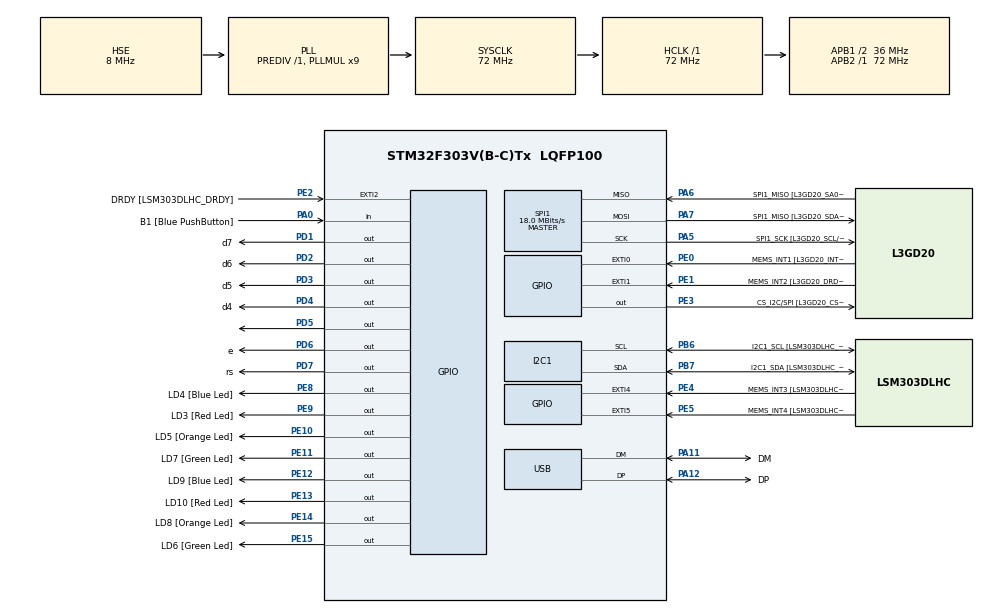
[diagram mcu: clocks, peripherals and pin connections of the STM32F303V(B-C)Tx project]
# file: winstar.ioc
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Mcu.Family=STM32F3
PA6.Mode=Full_Duplex_Master
RCC.CortexFreq_Value=72000000
SPI1.VirtualType=VM_MASTER
PE11.GPIO_Label=LD7 [Green Led]
PA14.GPIO_Label=SWCLK
RCC.SYSCLKSourceVirtual=RCC_SYSCLKSOURCE_PLLCLK
PA0.GPIO_Label=B1 [Blue PushButton]
PA11.Mode=Device
PD2.GPIO_Speed=GPIO_SPEED_FREQ_HIGH
PA6.GPIO_Label=SPI1_MISO [L3GD20_SA0/SDO]
PB6.GPIO_Label=I2C1_SCL [LSM303DLHC_SCL]
PD3.GPIO_Speed=GPIO_SPEED_FREQ_HIGH
PD6.GPIO_Label=e
PC15-OSC32_OUT.GPIO_Label=OSC32_OUT
ProjectManager.StackSize=0x400
VP_FREERTOS_VS_CMSIS_V2.Mode=CMSIS_V2
SPI1.Mode-Full_Duplex_Master=SPI_MODE_MASTER
PA12.Signal=USB_DP
PD7.GPIO_PuPd=GPIO_PULLUP
SPI1.Direction=SPI_DIRECTION_2LINES
RCC.HCLKFreq_Value=72000000
PD4.Signal=GPIO_Output
RCC.APB2TimFreq_Value=72000000
PB6.Signal=I2C1_SCL
PB6.Mode=I2C
SPI1.CalculateBaudRate=18.0 MBits/s
PE5.Signal=GPXTI5
PE1.Signal=GPXTI1
RCC.AHBFreq_Value=72000000
RCC.HSE_VALUE=8000000
PF0-OSC_IN.GPIO_Label=OSC_IN
RCC.PLLMUL=RCC_PLL_MUL9
PD1.GPIO_Label=d7
PD7.GPIO_Speed=GPIO_SPEED_FREQ_HIGH
NVIC.TIM1_TRG_COM_TIM17_IRQn=true\:0\:0\:false\:false\:true\:false\:false\:true
PE13.Signal=GPIO_Output
PE9.Signal=GPIO_Output
PD1.GPIO_Speed=GPIO_SPEED_FREQ_HIGH
PA14.Mode=Serial_Wire
PE4.GPIO_Label=MEMS_INT3 [LSM303DLHC_INT1]
PE2.Signal=GPXTI2
PB7.Signal=I2C1_SDA
PE10.Signal=GPIO_Output
PE4.Signal=GPXTI4
SPI1.CalculateBaudRate-Full_Duplex_Master=24.0 MBits/s
PA0.Signal=GPIO_Input
PD7.GPIO_Label=rs
PB7.GPIO_Label=I2C1_SDA [LSM303DLHC_SDA]
Mcu.Package=LQFP100
PA6.Signal=SPI1_MISO
NVIC.TimeBase=TIM1_TRG_COM_TIM17_IRQn
NVIC.TimeBaseIP=TIM17
PE12.GPIO_Label=LD9 [Blue Led]
PE0.GPIO_Label=MEMS_INT1 [L3GD20_INT1]
RCC.APB1TimFreq_Value=72000000
PD5.GPIO_Speed=GPIO_SPEED_FREQ_HIGH
PC14-OSC32_IN.GPIO_Label=OSC32_IN
PD3.GPIO_Label=d5
PD3.GPIO_PuPd=GPIO_PULLUP
PD6.Signal=GPIO_Output
PE10.GPIO_Label=LD5 [Orange Led]
SPI1.BaudRatePrescaler=SPI_BAUDRATEPRESCALER_4
PE2.GPIO_Label=DRDY [LSM303DLHC_DRDY]
PF1-OSC_OUT.Signal=RCC_OSC_OUT
PA5.Mode=Full_Duplex_Master
PB3.GPIO_Label=SWO
FREERTOS.Tasks01=defaultTask,24,128,StartDefaultTask,Default,NULL,Dynamic,NULL,NULL
PA7.Mode=Full_Duplex_Master
PD2.GPIO_PuPd=GPIO_PULLUP
VP_SYS_VS_tim17.Mode=TIM17
PD3.Signal=GPIO_Output
PE4.GPIO_ModeDefaultEXTI=GPIO_MODE_EVT_RISING
PD7.Signal=GPIO_Output
PD1.Signal=GPIO_Output
PA11.GPIO_Label=DM
PE14.GPIO_Label=LD8 [Orange Led]
PD5.Signal=GPIO_Output
PD1.GPIO_PuPd=GPIO_PULLUP
PE1.GPIO_ModeDefaultEXTI=GPIO_MODE_EVT_RISING
RCC.APB1CLKDivider=RCC_HCLK_DIV2
PC14-OSC32_IN.Signal=RCC_OSC32_IN
PA12.GPIO_Label=DP
PA13.Signal=SYS_JTMS-SWDIO
PD4.GPIO_PuPd=GPIO_PULLUP
PE15.GPIO_Label=LD6 [Green Led]
ProjectManager.TargetToolchain=EWARM V8
PE5.GPIO_ModeDefaultEXTI=GPIO_MODE_EVT_RISING
PE8.GPIO_Label=LD4 [Blue Led]
PE0.GPIO_ModeDefaultEXTI=GPIO_MODE_EVT_RISING
RCC.USBFreq_Value=48000000
PE11.Signal=GPIO_Output
RCC.LSE_VALUE=32768
PC15-OSC32_OUT.Signal=RCC_OSC32_OUT
PE9.GPIO_Label=LD3 [Red Led]
PF0-OSC_IN.Mode=HSE-External-Clock-Source
PA5.Signal=SPI1_SCK
board=STM32F3DISCOVERY
PE1.GPIO_Label=MEMS_INT2 [L3GD20_DRDY/INT2]
RCC.APB2Freq_Value=72000000
PE14.Signal=GPIO_Output
PE15.Signal=GPIO_Output
RCC.PRESCALERUSB=RCC_USBCLKSOURCE_PLL_DIV1_5
PE8.Signal=GPIO_Output
SPI1.Mode=SPI_MODE_MASTER
PD4.GPIO_Label=d4
PD4.GPIO_Speed=GPIO_SPEED_FREQ_HIGH
PF1-OSC_OUT.GPIO_Label=OSC_OUT
I2C1.Timing-I2C=0x2000090E
PD5.GPIO_PuPd=GPIO_PULLUP
PA13.Mode=Serial_Wire
Mcu.Name=STM32F303V(B-C)Tx
PE0.Signal=GPXTI0
PE12.Signal=GPIO_Output
PA13.GPIO_Label=SWDIO
PB3.Signal=SYS_JTDO-TRACESWO
RCC.SYSCLKFreq_VALUE=72000000
PA7.GPIO_Label=SPI1_MISO [L3GD20_SDA/SDI/SDO]
PE13.GPIO_Label=LD10 [Red Led]
PA12.Mode=Device
PA5.GPIO_Label=SPI1_SCK [L3GD20_SCL/SPC]
PE5.GPIO_Label=MEMS_INT4 [LSM303DLHC_INT2]
PA11.Signal=USB_DM
PB7.Mode=I2C
PA14.Signal=SYS_JTCK-SWCLK
ProjectManager.HeapSize=0x200
RCC.HSI_VALUE=8000000
NVIC.PriorityGroup=NVIC_PRIORITYGROUP_4
PE3.Signal=GPIO_Output
PE3.GPIO_Label=CS_I2C/SPI [L3GD20_CS_I2C/SPI]
PE2.GPIO_ModeDefaultEXTI=GPIO_MODE_EVT_RISING
PF0-OSC_IN.Signal=RCC_OSC_IN
PD2.Signal=GPIO_Output
RCC.APB1Freq_Value=36000000
PD6.GPIO_Speed=GPIO_SPEED_FREQ_HIGH
SPI1.BaudRatePrescaler-Full_Duplex_Master=SPI_BAUDRATEPRESCALER_2
PD2.GPIO_Label=d6
PD6.GPIO_PuPd=GPIO_PULLUP
PA7.Signal=SPI1_MOSI

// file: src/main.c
/* USER CODE BEGIN Header */
/**
  ******************************************************************************
  * @file           : main.c
  * @brief          : Main program body
  ******************************************************************************
  * @attention
  *
  * <h2><center>&copy; Copyright (c) 2020 STMicroelectronics.
  * All rights reserved.</center></h2>
  *
  * This software component is licensed by ST under Ultimate Liberty license
  * SLA0044, the "License"; You may not use this file except in compliance with
  * the License. You may obtain a copy of the License at:
  *                             www.st.com/SLA0044
  *
  ******************************************************************************
  */
/* USER CODE END Header */

#include "main.h"
#include "cmsis_os.h"

/* USER CODE BEGIN Includes */
#include "wh1602.h"
/* USER CODE END Includes */

I2C_HandleTypeDef hi2c1;

SPI_HandleTypeDef hspi1;

PCD_HandleTypeDef hpcd_USB_FS;

/* Definitions for defaultTask */
osThreadId_t defaultTaskHandle;
const osThreadAttr_t defaultTask_attributes = {
  .name = "defaultTask",
  .priority = (osPriority_t) osPriorityNormal,
  .stack_size = 128 * 4
};

void SystemClock_Config(void);
static void MX_GPIO_Init(void);
static void MX_I2C1_Init(void);
static void MX_SPI1_Init(void);
static void MX_USB_PCD_Init(void);
void StartDefaultTask(void *argument);

int main(void)
{

  /* MCU Configuration--------------------------------------------------------*/

  /* Reset of all peripherals, Initializes the Flash interface and the Systick. */
  HAL_Init();

  /* Configure the system clock */
  SystemClock_Config();

  /* Initialize all configured peripherals */
  MX_GPIO_Init();
  MX_I2C1_Init();
  MX_SPI1_Init();
  MX_USB_PCD_Init();

  /* Init scheduler */
  osKernelInitialize();

  /* Create the thread(s) */
  /* creation of defaultTask */
  defaultTaskHandle = osThreadNew(StartDefaultTask, NULL, &defaultTask_attributes);

  /* Start scheduler */
  osKernelStart();

  /* We should never get here as control is now taken by the scheduler */
  /* Infinite loop */
  while (1)
  {

  }
}

void SystemClock_Config(void)
{
  RCC_OscInitTypeDef RCC_OscInitStruct = {0};
  RCC_ClkInitTypeDef RCC_ClkInitStruct = {0};
  RCC_PeriphCLKInitTypeDef PeriphClkInit = {0};

  /** Initializes the CPU, AHB and APB busses clocks
  */
  RCC_OscInitStruct.OscillatorType = RCC_OSCILLATORTYPE_HSI|RCC_OSCILLATORTYPE_HSE;
  RCC_OscInitStruct.HSEState = RCC_HSE_BYPASS;
  RCC_OscInitStruct.HSEPredivValue = RCC_HSE_PREDIV_DIV1;
  RCC_OscInitStruct.HSIState = RCC_HSI_ON;
  RCC_OscInitStruct.HSICalibrationValue = RCC_HSICALIBRATION_DEFAULT;
  RCC_OscInitStruct.PLL.PLLState = RCC_PLL_ON;
  RCC_OscInitStruct.PLL.PLLSource = RCC_PLLSOURCE_HSE;
  RCC_OscInitStruct.PLL.PLLMUL = RCC_PLL_MUL9;
  if (HAL_RCC_OscConfig(&RCC_OscInitStruct) != HAL_OK)
  {
    Error_Handler();
  }
  /** Initializes the CPU, AHB and APB busses clocks
  */
  RCC_ClkInitStruct.ClockType = RCC_CLOCKTYPE_HCLK|RCC_CLOCKTYPE_SYSCLK
                              |RCC_CLOCKTYPE_PCLK1|RCC_CLOCKTYPE_PCLK2;
  RCC_ClkInitStruct.SYSCLKSource = RCC_SYSCLKSOURCE_PLLCLK;
  RCC_ClkInitStruct.AHBCLKDivider = RCC_SYSCLK_DIV1;
  RCC_ClkInitStruct.APB1CLKDivider = RCC_HCLK_DIV2;
  RCC_ClkInitStruct.APB2CLKDivider = RCC_HCLK_DIV1;

  if (HAL_RCC_ClockConfig(&RCC_ClkInitStruct, FLASH_LATENCY_2) != HAL_OK)
  {
    Error_Handler();
  }
  PeriphClkInit.PeriphClockSelection = RCC_PERIPHCLK_USB|RCC_PERIPHCLK_I2C1;
  PeriphClkInit.I2c1ClockSelection = RCC_I2C1CLKSOURCE_HSI;
  PeriphClkInit.USBClockSelection = RCC_USBCLKSOURCE_PLL_DIV1_5;
  if (HAL_RCCEx_PeriphCLKConfig(&PeriphClkInit) != HAL_OK)
  {
    Error_Handler();
  }
}

static void MX_I2C1_Init(void)
{

  hi2c1.Instance = I2C1;
  hi2c1.Init.Timing = 0x2000090E;
  hi2c1.Init.OwnAddress1 = 0;
  hi2c1.Init.AddressingMode = I2C_ADDRESSINGMODE_7BIT;
  hi2c1.Init.DualAddressMode = I2C_DUALADDRESS_DISABLE;
  hi2c1.Init.OwnAddress2 = 0;
  hi2c1.Init.OwnAddress2Masks = I2C_OA2_NOMASK;
  hi2c1.Init.GeneralCallMode = I2C_GENERALCALL_DISABLE;
  hi2c1.Init.NoStretchMode = I2C_NOSTRETCH_DISABLE;
  if (HAL_I2C_Init(&hi2c1) != HAL_OK)
  {
    Error_Handler();
  }
  /** Configure Analogue filter
  */
  if (HAL_I2CEx_ConfigAnalogFilter(&hi2c1, I2C_ANALOGFILTER_ENABLE) != HAL_OK)
  {
    Error_Handler();
  }
  /** Configure Digital filter
  */
  if (HAL_I2CEx_ConfigDigitalFilter(&hi2c1, 0) != HAL_OK)
  {
    Error_Handler();
  }

}

static void MX_SPI1_Init(void)
{

  /* SPI1 parameter configuration*/
  hspi1.Instance = SPI1;
  hspi1.Init.Mode = SPI_MODE_MASTER;
  hspi1.Init.Direction = SPI_DIRECTION_2LINES;
  hspi1.Init.DataSize = SPI_DATASIZE_4BIT;
  hspi1.Init.CLKPolarity = SPI_POLARITY_LOW;
  hspi1.Init.CLKPhase = SPI_PHASE_1EDGE;
  hspi1.Init.NSS = SPI_NSS_SOFT;
  hspi1.Init.BaudRatePrescaler = SPI_BAUDRATEPRESCALER_4;
  hspi1.Init.FirstBit = SPI_FIRSTBIT_MSB;
  hspi1.Init.TIMode = SPI_TIMODE_DISABLE;
  hspi1.Init.CRCCalculation = SPI_CRCCALCULATION_DISABLE;
  hspi1.Init.CRCPolynomial = 7;
  hspi1.Init.CRCLength = SPI_CRC_LENGTH_DATASIZE;
  hspi1.Init.NSSPMode = SPI_NSS_PULSE_ENABLE;
  if (HAL_SPI_Init(&hspi1) != HAL_OK)
  {
    Error_Handler();
  }

}

static void MX_USB_PCD_Init(void)
{

  hpcd_USB_FS.Instance = USB;
  hpcd_USB_FS.Init.dev_endpoints = 8;
  hpcd_USB_FS.Init.speed = PCD_SPEED_FULL;
  hpcd_USB_FS.Init.phy_itface = PCD_PHY_EMBEDDED;
  hpcd_USB_FS.Init.low_power_enable = DISABLE;
  hpcd_USB_FS.Init.battery_charging_enable = DISABLE;
  if (HAL_PCD_Init(&hpcd_USB_FS) != HAL_OK)
  {
    Error_Handler();
  }

}

static void MX_GPIO_Init(void)
{
  GPIO_InitTypeDef GPIO_InitStruct = {0};

  /* GPIO Ports Clock Enable */
  __HAL_RCC_GPIOE_CLK_ENABLE();
  __HAL_RCC_GPIOC_CLK_ENABLE();
  __HAL_RCC_GPIOF_CLK_ENABLE();
  __HAL_RCC_GPIOA_CLK_ENABLE();
  __HAL_RCC_GPIOB_CLK_ENABLE();
  __HAL_RCC_GPIOD_CLK_ENABLE();

  /*Configure GPIO pin Output Level */
  HAL_GPIO_WritePin(GPIOE, CS_I2C_SPI_Pin|LD4_Pin|LD3_Pin|LD5_Pin
                          |LD7_Pin|LD9_Pin|LD10_Pin|LD8_Pin
                          |LD6_Pin, GPIO_PIN_RESET);

  /*Configure GPIO pin Output Level */
  HAL_GPIO_WritePin(GPIOD, d7_Pin|d6_Pin|d5_Pin|d4_Pin
                          |GPIO_PIN_5|e_Pin|rs_Pin, GPIO_PIN_RESET);

  /*Configure GPIO pins : DRDY_Pin MEMS_INT3_Pin MEMS_INT4_Pin MEMS_INT1_Pin
                           MEMS_INT2_Pin */
  GPIO_InitStruct.Pin = DRDY_Pin|MEMS_INT3_Pin|MEMS_INT4_Pin|MEMS_INT1_Pin
                          |MEMS_INT2_Pin;
  GPIO_InitStruct.Mode = GPIO_MODE_EVT_RISING;
  GPIO_InitStruct.Pull = GPIO_NOPULL;
  HAL_GPIO_Init(GPIOE, &GPIO_InitStruct);

  /*Configure GPIO pins : CS_I2C_SPI_Pin LD4_Pin LD3_Pin LD5_Pin
                           LD7_Pin LD9_Pin LD10_Pin LD8_Pin
                           LD6_Pin */
  GPIO_InitStruct.Pin = CS_I2C_SPI_Pin|LD4_Pin|LD3_Pin|LD5_Pin
                          |LD7_Pin|LD9_Pin|LD10_Pin|LD8_Pin
                          |LD6_Pin;
  GPIO_InitStruct.Mode = GPIO_MODE_OUTPUT_PP;
  GPIO_InitStruct.Pull = GPIO_NOPULL;
  GPIO_InitStruct.Speed = GPIO_SPEED_FREQ_LOW;
  HAL_GPIO_Init(GPIOE, &GPIO_InitStruct);

  /*Configure GPIO pins : PE6 PE7 */
  GPIO_InitStruct.Pin = GPIO_PIN_6|GPIO_PIN_7;
  GPIO_InitStruct.Mode = GPIO_MODE_ANALOG;
  GPIO_InitStruct.Pull = GPIO_NOPULL;
  HAL_GPIO_Init(GPIOE, &GPIO_InitStruct);

  /*Configure GPIO pins : PC13 PC0 PC1 PC2
                           PC3 PC4 PC5 PC6
                           PC7 PC8 PC9 PC10
                           PC11 PC12 */
  GPIO_InitStruct.Pin = GPIO_PIN_13|GPIO_PIN_0|GPIO_PIN_1|GPIO_PIN_2
                          |GPIO_PIN_3|GPIO_PIN_4|GPIO_PIN_5|GPIO_PIN_6
                          |GPIO_PIN_7|GPIO_PIN_8|GPIO_PIN_9|GPIO_PIN_10
                          |GPIO_PIN_11|GPIO_PIN_12;
  GPIO_InitStruct.Mode = GPIO_MODE_ANALOG;
  GPIO_InitStruct.Pull = GPIO_NOPULL;
  HAL_GPIO_Init(GPIOC, &GPIO_InitStruct);

  /*Configure GPIO pins : PF9 PF10 PF2 PF4
                           PF6 */
  GPIO_InitStruct.Pin = GPIO_PIN_9|GPIO_PIN_10|GPIO_PIN_2|GPIO_PIN_4
                          |GPIO_PIN_6;
  GPIO_InitStruct.Mode = GPIO_MODE_ANALOG;
  GPIO_InitStruct.Pull = GPIO_NOPULL;
  HAL_GPIO_Init(GPIOF, &GPIO_InitStruct);

  /*Configure GPIO pin : B1_Pin */
  GPIO_InitStruct.Pin = B1_Pin;
  GPIO_InitStruct.Mode = GPIO_MODE_INPUT;
  GPIO_InitStruct.Pull = GPIO_NOPULL;
  HAL_GPIO_Init(B1_GPIO_Port, &GPIO_InitStruct);

  /*Configure GPIO pins : PA1 PA2 PA3 PA4
                           PA8 PA9 PA10 PA15 */
  GPIO_InitStruct.Pin = GPIO_PIN_1|GPIO_PIN_2|GPIO_PIN_3|GPIO_PIN_4
                          |GPIO_PIN_8|GPIO_PIN_9|GPIO_PIN_10|GPIO_PIN_15;
  GPIO_InitStruct.Mode = GPIO_MODE_ANALOG;
  GPIO_InitStruct.Pull = GPIO_NOPULL;
  HAL_GPIO_Init(GPIOA, &GPIO_InitStruct);

  /*Configure GPIO pins : PB0 PB1 PB2 PB10
                           PB11 PB12 PB13 PB14
                           PB15 PB4 PB5 PB8
                           PB9 */
  GPIO_InitStruct.Pin = GPIO_PIN_0|GPIO_PIN_1|GPIO_PIN_2|GPIO_PIN_10
                          |GPIO_PIN_11|GPIO_PIN_12|GPIO_PIN_13|GPIO_PIN_14
                          |GPIO_PIN_15|GPIO_PIN_4|GPIO_PIN_5|GPIO_PIN_8
                          |GPIO_PIN_9;
  GPIO_InitStruct.Mode = GPIO_MODE_ANALOG;
  GPIO_InitStruct.Pull = GPIO_NOPULL;
  HAL_GPIO_Init(GPIOB, &GPIO_InitStruct);

  /*Configure GPIO pins : PD8 PD9 PD10 PD11
                           PD12 PD13 PD14 PD15
                           PD0 */
  GPIO_InitStruct.Pin = GPIO_PIN_8|GPIO_PIN_9|GPIO_PIN_10|GPIO_PIN_11
                          |GPIO_PIN_12|GPIO_PIN_13|GPIO_PIN_14|GPIO_PIN_15
                          |GPIO_PIN_0;
  GPIO_InitStruct.Mode = GPIO_MODE_ANALOG;
  GPIO_InitStruct.Pull = GPIO_NOPULL;
  HAL_GPIO_Init(GPIOD, &GPIO_InitStruct);

  /*Configure GPIO pins : d7_Pin d6_Pin d5_Pin d4_Pin
                           PD5 e_Pin rs_Pin */
  GPIO_InitStruct.Pin = d7_Pin|d6_Pin|d5_Pin|d4_Pin
                          |GPIO_PIN_5|e_Pin|rs_Pin;
  GPIO_InitStruct.Mode = GPIO_MODE_OUTPUT_PP;
  GPIO_InitStruct.Pull = GPIO_PULLUP;
  GPIO_InitStruct.Speed = GPIO_SPEED_FREQ_HIGH;
  HAL_GPIO_Init(GPIOD, &GPIO_InitStruct);

}

void StartDefaultTask(void *argument)
{
  /* USER CODE BEGIN 5 */
   uint8_t i=0;
  /* Infinite loop */
  for(;;)
  {
    if (i==0){
    osDelay(1000);
    InitializeLCD();
    ClearLCDScreen();
    i=1;
    }
    osDelay(1000);
    //ClearLCDScreen();
    Cursor(0,0);
    SendByte(0xA0,1);
    SendByte(0xA1,1);
    SendByte(0xA2,1);
    SendByte(0xA3,1);
    SendByte(0xA4,1);
    SendByte(0xA5,1);
    SendByte(0xA6,1);
    SendByte(0xA7,1);
    SendByte(0xA8,1);
    SendByte(0xA9,1);
    SendByte(0xAA,1);
    SendByte(0xAB,1);
    SendByte(0xAC,1);
    SendByte(0xAE,1);
    SendByte(0xAF,1);
    SendByte(0xB0,1);
    Cursor(0,0);
    SendByte(0xAD,1);
    Cursor(1,4);
    PrintStr("Ch323     ");
    HAL_GPIO_TogglePin(GPIOE,GPIO_PIN_12);
  }
  /* USER CODE END 5 */
}

 /**
  * @brief  Period elapsed callback in non blocking mode
  * @note   This function is called  when TIM17 interrupt took place, inside
  * HAL_TIM_IRQHandler(). It makes a direct call to HAL_IncTick() to increment
  * a global variable "uwTick" used as application time base.
  * @param  htim : TIM handle
  * @retval None
  */
void HAL_TIM_PeriodElapsedCallback(TIM_HandleTypeDef *htim)
{
  if (htim->Instance == TIM17) {
    HAL_IncTick();
  }
}

void Error_Handler(void)
{
}

/************************ (C) COPYRIGHT STMicroelectronics *****END OF FILE****/
